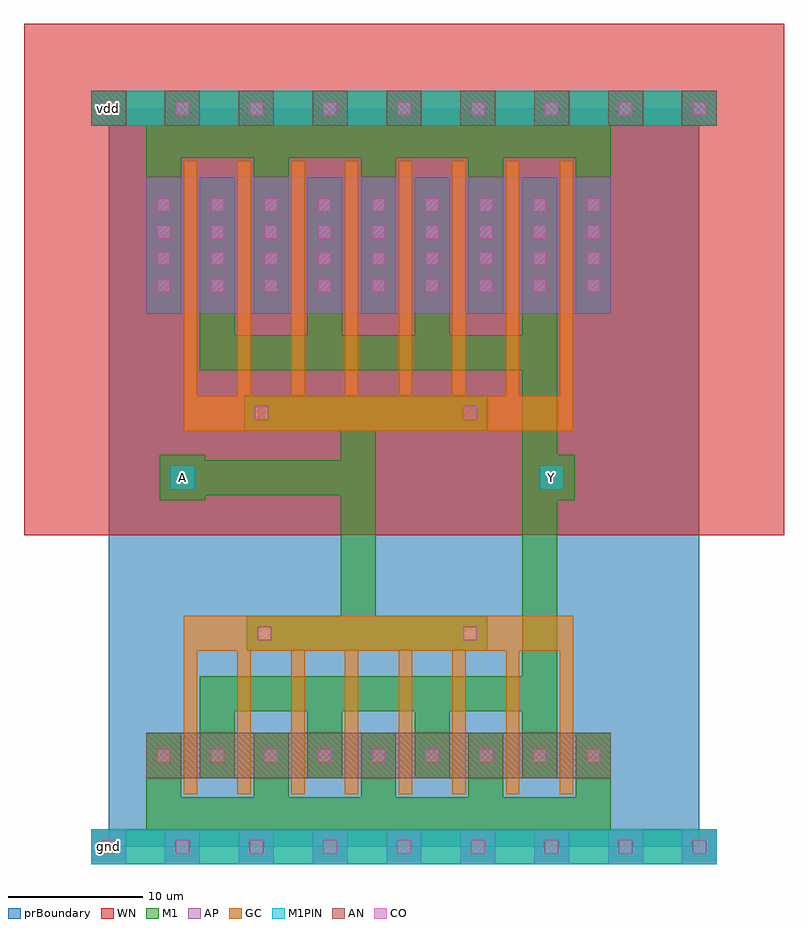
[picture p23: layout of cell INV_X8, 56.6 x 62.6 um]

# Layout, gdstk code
import gdstk
lib = gdstk.Library(unit=1e-6, precision=1e-09)
def R(c, l, rs):  # rectangles x0, y0, x1, y1
    for r in rs: c.add(gdstk.rectangle(r[:2], r[2:], *l))
def A(c, l, x, y, w, h, nx, ny, dx, dy):  # array of equal rectangles
    R(c, l, [(x+i*dx, y+j*dy, x+i*dx+w, y+j*dy+h) for i in range(nx) for j in range(ny)])
def P(c, l, *ps):  # polygons
    for p in ps: c.add(gdstk.Polygon(p, *l))
AP = (3, 1)
AN = (3, 2)
GC = (8, 1)
CO = (11, 0)
M1 = (13, 0)
M1PIN = (48, 1)
WN = (140, 0)
prBoundary = (235, 0)

inv_x8 = lib.new_cell('INV_X8')
A(inv_x8, AP, -1.3, -1.3, 2.6, 2.6, 9, 1, 5.5, 0)
R(inv_x8, AP, [(2.8,39.7,37.4,49.9), (2.8,39.7,37.4,49.9)])
A(inv_x8, AN, -1.3, 53.7, 2.6, 2.6, 9, 1, 5.5, 0)
R(inv_x8, AN, [(2.8,5.1,37.4,8.5)])
P(inv_x8, GC, [(5.6,3.9),(5.6,17.2),(34.6,17.2),(34.6,3.9),(33.6,3.9),(33.6,14.6),(30.6,14.6),(30.6,3.9),(29.6,3.9),(29.6,14.6),(26.6,14.6),(26.6,3.9),(25.6,3.9),(25.6,14.6),(22.6,14.6),(22.6,3.9),(21.6,3.9),(21.6,14.6),(18.6,14.6),(18.6,3.9),(17.6,3.9),(17.6,14.6),(14.6,14.6),(14.6,3.9),(13.6,3.9),(13.6,14.6),(10.6,14.6),(10.6,3.9),(9.6,3.9),(9.6,14.6),(6.6,14.6),(6.6,3.9)],
  [(5.6,31),(5.6,51.1),(6.6,51.1),(6.6,33.6),(9.6,33.6),(9.6,51.1),(10.6,51.1),(10.6,33.6),(13.6,33.6),(13.6,51.1),(14.6,51.1),(14.6,33.6),(17.6,33.6),(17.6,51.1),(18.6,51.1),(18.6,33.6),(21.6,33.6),(21.6,51.1),(22.6,51.1),(22.6,33.6),(25.6,33.6),(25.6,51.1),(26.6,51.1),(26.6,33.6),(29.6,33.6),(29.6,51.1),(30.6,51.1),(30.6,33.6),(33.6,33.6),(33.6,51.1),(34.6,51.1),(34.6,31)])
A(inv_x8, CO, -0.5, -0.5, 1, 1, 9, 2, 5.5, 55)
A(inv_x8, CO, 3.6, 6.3, 1, 1, 9, 2, 4, 35)
A(inv_x8, CO, 3.6, 43.3, 1, 1, 9, 3, 4, 2)
R(inv_x8, CO, [(11.1,15.4,12.1,16.4), (26.4,15.4,27.4,16.4), (10.9,31.8,11.9,32.8), (26.4,31.8,27.4,32.8)])
P(inv_x8, M1, [(-1.3,-1.3),(-1.3,1.3),(2.8,1.3),(2.8,8.5),(5.4,8.5),(5.4,3.7),(10.8,3.7),(10.8,8.5),(13.4,8.5),(13.4,3.7),(18.8,3.7),(18.8,8.5),(21.4,8.5),(21.4,3.7),(26.8,3.7),(26.8,8.5),(29.4,8.5),(29.4,3.7),(34.8,3.7),(34.8,8.5),(37.4,8.5),(37.4,1.3),(45.3,1.3),(45.3,-1.3)],
  [(10.3,14.6),(10.3,17.2),(17.3,17.2),(17.3,26.2),(7.2,26.2),(7.2,25.8),(3.8,25.8),(3.8,29.2),(7.2,29.2),(7.2,28.8),(17.3,28.8),(17.3,31),(10.1,31),(10.1,33.6),(28.2,33.6),(28.2,31),(19.9,31),(19.9,17.2),(28.2,17.2),(28.2,14.6)],
  [(6.8,5.1),(6.8,12.7),(30.8,12.7),(30.8,35.5),(6.8,35.5),(6.8,49.9),(9.4,49.9),(9.4,38.1),(14.8,38.1),(14.8,49.9),(17.4,49.9),(17.4,38.1),(22.8,38.1),(22.8,49.9),(25.4,49.9),(25.4,38.1),(30.8,38.1),(30.8,49.9),(33.4,49.9),(33.4,29.2),(34.7,29.2),(34.7,25.8),(33.4,25.8),(33.4,5.1),(30.8,5.1),(30.8,10.1),(25.4,10.1),(25.4,5.1),(22.8,5.1),(22.8,10.1),(17.4,10.1),(17.4,5.1),(14.8,5.1),(14.8,10.1),(9.4,10.1),(9.4,5.1)],
  [(2.8,39.7),(2.8,53.7),(-1.3,53.7),(-1.3,56.3),(45.3,56.3),(45.3,53.7),(37.4,53.7),(37.4,39.7),(34.8,39.7),(34.8,51.3),(29.4,51.3),(29.4,39.7),(26.8,39.7),(26.8,51.3),(21.4,51.3),(21.4,39.7),(18.8,39.7),(18.8,51.3),(13.4,51.3),(13.4,39.7),(10.8,39.7),(10.8,51.3),(5.4,51.3),(5.4,39.7)])
R(inv_x8, M1PIN, [(-1.3,-1.3,45.3,1.3), (4.6,26.6,6.4,28.4), (32.1,26.6,33.9,28.4), (-1.3,53.7,45.3,56.3)])
R(inv_x8, WN, [(-6.3,23.2,50.3,61.3)])
R(inv_x8, prBoundary, [(0,0,44,55)])
inv_x8.add(gdstk.Label('Y', (33,27.5), layer=48, texttype=0))
inv_x8.add(gdstk.Label('A', (5.5,27.5), layer=48, texttype=0))
inv_x8.add(gdstk.Label('vdd', (0,55), layer=48, texttype=0))
inv_x8.add(gdstk.Label('gnd', (0,0), layer=48, texttype=0))

lib.write_gds('INV_X8.gds')
